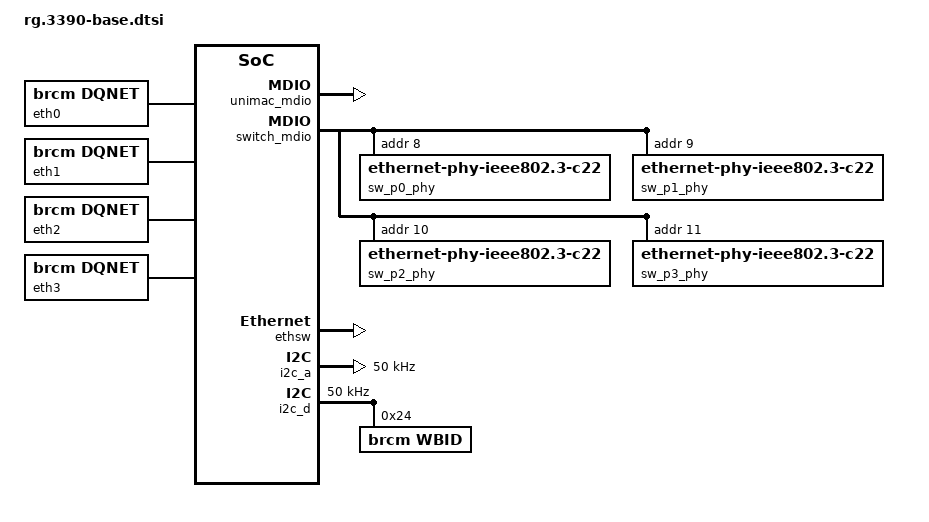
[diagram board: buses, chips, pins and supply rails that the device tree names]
/ {
	//Boot Assist
	bassist: ba {
		compatible = "brcm,brcm-ba";
		version = < 0x00020002 >;
		interrupts = <0 23 0x4 0 24 0x4>;
		reg = <0x0 0x04000000 0x0 0x05500000>, //Memory Region
		      <0x0 0xd3800000 0x0 0x80>, //CPU_COMM_REGS_CPUC
		      <0x0 0xd3881000 0x0 0x50>, //RG_TOP_CTRL
		      <0x0 0xd3880000 0x0 0x374>, //CM_TOP_CTRL
		      <0x0 0xf0410000 0x0 0x600>, //AON_CTRL
		      <0x0 0xf1500000 0x0 0x3fff>, //MEMC_0
		      <0x0 0xf1580000 0x0 0x3fff>, //MEMC_1
		      <0x0 0xd3890158 0x0 0x8>, //JTAG_OTP_UB
		      <0x0 0xd2100000 0x0 0x300>, //LEAP_CTRL: Control registers
		      <0x0 0xd3c009c0 0x0 0x8>; //LED: Control registers
		reg-names = "mem", "cpuc", "rgtop", "cmtop", "aon", "mc0", "mc1", "otp", "leap", "leds";
		allow-user-map;
		stb = < 0xFFFFFFFF 0 2 50 10 >; //start, size, # cpu, priority, latency
		rg = < 0xFFFFFFFF 0 2 50 10 >; //start, size, # cpu, priority, latency
		tp1 = < 0x08000000 0x01400000 >; //start, size
		cm_xfer = < 0x09410000 0x20000 0x2 >; //start, size, count
		leap = < 0x07F00000 0x100000>; //start, size
		arm_boot_rom = <0x09430000 0x00010000>; //start, size
		cm_atw = < 0x0 0x04000000 0x4000000 0x0 0x4807FFFC 0x0 0x0 0x0 >; //index, start, size, destination, client0-3
		cm_dsp_atw = < 0x1 0x08000000 0x00400000 0x07c00000 0x4804FFFC 0x0 0x0 0x0 >; //index, start, size, destination, client0-3
		cm_boot_atw = < 0x2 0x09400000 0x10000 0x1fc00000 0x40000 0x0 0x0 0x0 >; //index, start, size, destination, client0-3
		leds = < 0xd3c009c0 0x8>; //start, size
		//arc=<memc, index, ubus, exclusive, start, end, r_clients[8], w_clients[8]>
		rg-batt-mode = "off";
	};

	mbox: mbox {
		compatible = "brcm,brcm-mbox";
		reg = <0x0 0xd3800080 0x0 0x80>,  //MBOX_CPUC
		      <0x0 0xd3800000 0x0 0x80>;  //CPU_COMM_REGS_CPUC
		interrupts = <0 129 0x4>;
		read = < 0x0000011F >; /* 0,1,2,3,4,8 */
		write = < 0x000003E4 >; /* 2, 5, 6, 7, 8, 9 */
	};

	fpm: fpm@0xd3a00000 {
		compatible = "brcm,fpm";
		reg = <0x0 0x0ac00000 0x0 0x01000000>,	/* Free Pool 0	*/
		      <0x0 0xd3a00000 0x0 0x30133>,	/* Registers	*/
		      <0x0 0x0cc00000 0x0 0x01000000>;	/* Free Pool 1	*/
		interrupts = <0 127 0>;
		init;
		pool-alloc-weight	= <1 1>;
		pool-free-weight	= <1 1>;
		track-tokens = <1>;
		track-on-err = <0>;
		/*
		 * System-wide all FPM's used for network packets need to have space reserved
		 * at the head and possibly tail of the buffer. The head and tail padding is only
		 * required for network buffers. FPM buffers used for other purposes do not
		 * require any padding. DOCSIS necessitates a small head padding while systems
		 * with WiFi not only require a large head padding but also need tail padding.
		 * The values specified in the "head-pad" and "tail-pad" parameters below are
		 * available to other Linux drivers via an FPM driver API and to the rest of the
		 * system (i.e. DOCSIS HW, network accelerators, etc) via an FPM scratch register.
		 *
		 * DOCSIS-only Head Padding =		Reason
		 * 32					Runner <--> DFAP header
		 *
		 * DOCSIS + WiFi Head Padding =		Reason
		 * 240					BRCM WiFi driver's head padding requirement
		 *
		 * DOCSIS + WiFi Tail Padding =		Reason
		 *   4					struct skb_shared_info alignment
		 * + 40					sizeof(struct skb_shared_info) - sizeof(skb_frag_t array)
		 * + 4					struct sk_buff alignment
		 * + 200			      	sizeof(struct sk_buff)
		 * + 8					sizeof(WLER_CNTXT)	"wl_erouter context"
		 *
		 * Below we default to a DOCSIS-only head and tail pad and we let the WiFI include
		 * file override these to larger values for the DOCSIS + WiFi platforms.
		 *
		 * The head and tail padding is also closely coupled with the FPM buffer chunk size
		 * (256 or 512 bytes). 256 byte chunks can be used on DOCSIS-only systems because they
		 * only require a small head padding which can be accomodated with a minimum-size 256 byte
		 * buffer. This allows the FPM and Runner pools to be minimized (32MB per pool).
		 * WiFi systems, however, require head and tail padding large enough that a 256 byte
		 * buffer is insufficient for even the smallest packet so a 512 byte chunk size is used
		 * which also ensures that FPM buffers of sufficient size to hold the largest possible
		 * packets can be allocated. This larger chunk size also uses twice as much memory for
		 * the FPM and Runner pools (64MB per pool).
		 *
		 * Because the memory required for the FPM and Runner pools varies with the chunk size
		 * any changes to the chunk size necessitates changes to the pool addresses and sizes
		 * specified in the FPM and Runner "reg" properties as well as the "reserved-memory" node.
		 */
		chunk-size = <256>;
		net-buf-head-pad = <16>;
		net-buf-tail-pad = <0>;

		lwm-watchdog-timeout = <300000>;	/* 5 minutes */
	};

	dqm: dqm@d3800000 {
		compatible = "brcm,dqm";
		reg = <0x0 0xd3800000 0x0 0xa580>;
		interrupts = <0 129 0>;

		dev-name = "cpucomm";

		l1-irq-mask-offset	= <0x0058>;
		l1-irq-status-offset	= <0x005c>;
		l1-irq-dqm-mask		= <0x00400000 0x00200000 0x00100000>;
		token-offset		= <0x1400>;

		cfg-offset		= <0x1c00 0x1c00 0x1c00>;
		lwm-irq-mask-offset	= <0x1cb4 0x1d44 0x1ddc>;
		lwm-irq-status-offset	= <0x1ca0 0x1d30 0x1dc8>;
		ne-irq-mask-offset	= <0x1c60 0x1cd8 0x1d6c>;
		ne-irq-status-offset	= <0x1c18 0x1cc4 0x1d58>;
		ne-status-offset	= <0x1c20 0x1cc8 0x1d5c>;
		hwm-irq-mask-offset	= <0x1c8c 0x1d20 0x1db4>;
		hwm-irq-status-offset	= <0x1c78 0x1d0c 0x1da0>;
		tmr-irq-mask-offset	= <0x1c4c 0x1cfc 0x1d90>;
		tmr-irq-status-offset	= <0x1c38 0x1ce8 0x1d7c>;
		fpm-alloc-offset	= <0x1df4 0x1df4 0x1df4>;

		q-ctl-base-offset	= <0x8000 0x8400 0x8800>;
		q-tmr-base-offset	= <0x2000 0x2100 0x2200>;
		q-data-base-offset	= <0x9000 0x9400 0x9800>;
		q-status-base-offset	= <0x7400 0x7480 0x7500>;
		q-mib-base-offset	= <0xa000 0xa200 0xa400>;
		q-count			= <96>;
		cfg-qsm			= <1>;
		qsm-size		= <0x2fc0>;	/* Bx and beyond top 256 bytes reserved for random seed created by bootrom */
		#qsm-alloc-str-cells	= <8>;
		/* Following Queues are reserved but not used */
		/* 36 : STB DS Forward (STB-->Runner)         */
		/* 37 : STB US Forward (STB-->Runner)         */
		/* 38 : STB DS Egress  (STB-->Runner)         */
		/* 39 : STB US Egress  (STB-->Runner)         */
		/* 44 : Viper DS Forward (DFAP-->Runner)      */
		/* 45 : Viper US Forward (DFAP-->Runner)      */
		/* 46 : Viper DS Egress  (DFAP-->Runner)      */
		/* Q #, # words/element, # elements (depth), offload(1)/non-offload(0), LWM, HWM, timeout(ns), Name */
		qsm-allocation-str	= "2",   "4",  "8",     "1", "2",    "1",    "0",    "RPC RG-->CM",
					  "3",   "4",  "8",     "1", "2",    "1",    "0",    "RPC RG<--CM",
					  "6",   "4",  "8",     "1", "2",    "1",    "0",    "RPC STB-->CM",
					  "7",   "4",  "8",     "1", "2",    "1",    "0",    "RPC STB<--CM",
					  "8",   "4",  "8",     "1", "2",    "1",    "0",    "RPC DECT-->CM",
					  "9",   "4",  "8",     "1", "2",    "1",    "0",    "RPC DECT<--CM",
					  "14",  "2",  "16",    "1", "4",    "1",    "0",    "Private Network RG-->CM",
					  "15",  "2",  "64",    "1", "4",    "1",    "0",    "Private Network RG<--CM",
					  "20",  "4",  "8",     "1", "2",    "1",    "0",    "RPC SVM-->CM",
					  "21",  "4",  "8",     "1", "2",    "1",    "0",    "RPC SVM<--CM",
					  "32",  "4",  "64",    "1", "16",   "1",    "0",    "RG DS Forward (RG-->Runner)",
					  "34",  "4",  "64",    "1", "16",   "1",    "0",    "RG DS Egress (RG-->Runner)",
					  "35",  "4",  "64",    "1", "16",   "1",    "0",    "RG US Egress (RG-->Runner)",
					  "47",  "2",  "4000",  "1", "512",  "1",    "0",    "SKB Prealloc (RG-->Runner)",
					  "48",  "4",  "4000",  "1", "64",   "64",   "1000", "RG Exception LAN (Runner-->RG)",
					  "49",  "4",  "256",   "1", "64",   "1",    "0",    "RG Exception Ctl (Runner-->RG)",
					  "50",  "4",  "4000",  "1", "64",   "64",   "1000", "RG Exception WAN (Runner-->RG)",
					  "51",  "4",  "4000",  "1", "64",   "64",   "1000", "RG Expected 0    (Runner-->RG)",
					  "52",  "4",  "4000",  "1", "64",   "64",   "1000", "RG Expected 1    (Runner-->RG)",
					  "53",  "4",  "4000",  "1", "64",   "64",   "1000", "RG Expected 2    (Runner-->RG)",
					  "54",  "4",  "4000",  "1", "64",   "64",   "1000", "RG Expected 3    (Runner-->RG)",
					  "55",  "1",  "4000",  "1", "16",   "1000", "0",    "SKB Recycle (Runner-->RG)";
	};

	pwr: power {
		boot-state = "ac";
	};

	rpcrgcm: rpcrgcm {
		compatible = "brcm,itc-rpc";
		dev-name = "rg-cm";
		dqm = "cpucomm";
		tx-q = <2>;
		rx-q = <3>;
	};

	rpcsvmcm: rpcsvmcm {
		compatible = "brcm,itc-rpc";
		dev-name = "svm-cm";
		dqm = "cpucomm";
		tx-q = <20>;
		rx-q = <21>;
	};

	qchan0: q-channel0 {
		dev-name = "fap-exception";

		#tx-q-cells = <4>;
		/*	DQM device,  	Q#,	Priority	US/DS					*/
		tx-q =	"cpucomm",	"35",	"0",		"upstream",	/* RG upstream egress	*/
			"cpucomm",	"34",	"0",		"downstream";	/* RG downstream egress	*/
		#rx-q-cells = <4>;
		/*	DQM device,	Q#,	Priority						*/
		rx-q =	"cpucomm",	"49",	"0",		"control",    	/* Runner-->RG 0	*/
			"cpucomm",	"51",	"1",		"expected",   	/* Runner-->RG 1	*/
			"cpucomm",	"48",	"2",		"upstream",    	/* Runner-->RG 2	*/
			"cpucomm",	"50",	"3",		"downstream";	/* Runner-->RG 3	*/

		type = "fap-exception";
		q-msg-fmt = "runner-fpm";
	};

	qchan1: q-channel1 {
		dev-name = "cm-private";

		#tx-q-cells = <3>;
		/*	DQM device,	Q#,	Priority	US/DS   			*/
		tx-q =	"cpucomm",	"14",	"0";				/* RG-->CM	*/
		#rx-q-cells = <3>;
		/*	DQM device,	Q#,	Priority					*/
		rx-q =	"cpucomm",	"15",	"0";				/* CM-->RG	*/

		type = "point-to-point";
		q-msg-fmt = "gfap-fpm";
	};

	rfapskb: rfapskb {
		compatible = "brcm,dqskb";
		dev-name = "dqskb-rfap";
		dqm = "cpucomm";
		tx-q = <47>;
		rx-q = <55>;
	};

	mdqmrx0: mdqmrx0 {
		compatible = "brcm,mdqm";
		dev-name = "mdqmrx0";
		dqm = "cpucomm";
		q-type = "rx";
		q-num = <56 57>;
	};

	mdqmrx1: mdqmrx1 {
		compatible = "brcm,mdqm";
		dev-name = "mdqmrx1";
		dqm = "cpucomm";
		q-type = "rx";
		q-num = <58 59>;
	};

	mdqmrx2: mdqmrx2 {
		compatible = "brcm,mdqm";
		dev-name = "mdqmrx2";
		dqm = "cpucomm";
		q-type = "rx";
		q-num = <60 61>;
	};

	mdqmtx: mdqmtx {
		compatible = "brcm,mdqm";
		dev-name = "mdqmtx";
		dqm = "cpucomm";
		q-type = "tx";
		q-num = <33>;
	};

	priv0: priv0 { /* RG <--> CM private */
		compatible = "brcm,dqnet";
		channel = <&qchan1>;
		dev-name = "priv0";
		demux = "none";
		link-type = "rpc";
		rpc-channel = <&rpcrgcm>;
	};

	eth0: ethernet0 {
		compatible = "brcm,dqnet";
		channel = <&qchan0>;
		dev-name = "eth0";
		if-id = <2>;		/* rdpa_if_lan0 */
		if-sub-id = <0>;	/* if-sub-id must match the first column in phy-port node */
		demux = "subid";
		link-type = "switch";
		connection-type = "internal";
		brcm-tag;
	};

	eth1: ethernet1 {
		compatible = "brcm,dqnet";
		channel = <&qchan0>;
		dev-name = "eth1";
		if-id = <3>;		/* rdpa_if_lan1 */
		if-sub-id = <1>;	/* if-sub-id must match the first column in phy-port node */
		demux = "subid";
		link-type = "switch";
		connection-type = "internal";
		brcm-tag;
	};

	eth2: ethernet2 {
		compatible = "brcm,dqnet";
		channel = <&qchan0>;
		dev-name = "eth2";
		if-id = <4>;		/* rdpa_if_lan2 */
		if-sub-id = <2>;	/* if-sub-id must match the first column in phy-port node */
		demux = "subid";
		link-type = "switch";
		connection-type = "internal";
		brcm-tag;
	};

	eth3: ethernet3 {
		compatible = "brcm,dqnet";
		channel = <&qchan0>;
		dev-name = "eth3";
		if-id = <5>;		/* rdpa_if_lan3 */
		if-sub-id = <3>;	/* if-sub-id must match the first column in phy-port node */
		demux = "subid";
		link-type = "switch";
		connection-type = "internal";
		brcm-tag;
	};

	cm0: cm0 {
		compatible = "brcm,dqnet";
		channel = <&qchan0>;
		dev-name = "cm0";
		if-id = <0>;		/* rdpa_if_wan0 */
		demux = "subid";
		link-type = "rpc";
		rpc-channel = <&rpcrgcm>;
	};

	miimdiomux: miimdiomux@d3c026a0 {
		compatible = "brcm,miimdiomux3390";
		reg = <0 0xd3c026a0 0 0x4>;
		rgmii0-tx-select = "unimac";
		rgmii1-tx-select = "zero";
		p7-rx-select = "runner";
		p4-rx-select = "moca";
		unimac-rx-select = "rgmii0";
		unimac-mdio-select = "mdio0";
		switch-mdio-select = "mdio1";
	};

	unimac_mdio: mdio@d040062c {
		compatible = "brcm,unimac-mdio";
		dev-name = "UniMAC MII bus";
		reg = <0 0xd040062c 0 0x8>;
		reg-names = "unimac_mdio";
		#size-cells = <1>;
		#address-cells = <0>;
	};

	switch_mdio: mdio@d4e403c0 {
		compatible = "brcm,unimac-mdio";
		dev-name = "Switch MDIO bus";
		reg = <0 0xd4e403c0 0 0x8>;
		reg-names = "switch_mdio";
		#size-cells = <1>;
		#address-cells = <0>;
		sw_p0_phy: phy@8 {
			compatible = "ethernet-phy-ieee802.3-c22";
			reg = <8>;
			phy-mode = "rgmii";
		};
		sw_p1_phy: phy@9 {
			compatible = "ethernet-phy-ieee802.3-c22";
			reg = <9>;
			phy-mode = "rgmii";
		};
		sw_p2_phy: phy@10 {
			compatible = "ethernet-phy-ieee802.3-c22";
			reg = <10>;
			phy-mode = "rgmii";
		};
		sw_p3_phy: phy@11 {
			compatible = "ethernet-phy-ieee802.3-c22";
			reg = <11>;
			phy-mode = "rgmii";
		};
	};

	ethsw: ethsw@d4e00000 {
		compatible = "brcm,ethsw";
		reg = <0x0 0xd4e00000 0x0 0x42000>,
		      <0x0 0xd3c009c0 0x0 0x2c>;
		interrupts = <0 113 0>,
			     <0 114 0>;
		dev-name = "ethsw";
		imp-port = <5 2000>,
			   <7 2000>,
			   <8 2000>;
		eee-support = <1>;
		high-speed-imp = <1>;
		phy-handles = <&sw_p0_phy>,
			      <&sw_p1_phy>,
			      <&sw_p2_phy>,
			      <&sw_p3_phy>;
		subid-port-offset = <0>;
		#size-cells = <1>;
		#address-cells = <0>;
	};

	runner: runner@0xd5000000 {
		compatible = "brcm,rdpa_cm";
		reg = <0x0 0xd5000000 0x0 0x000fc460>,	/* Registers			*/
		      <0x0 0x09c00000 0x0 0x01000000>,	/* Runner Extra Memory 0	*/
		      <0x0 0x0bc00000 0x0 0x01000000>,	/* Runner Extra Memory 1	*/
		      <0x0 0x09500000 0x0 0x00700000>;	/* Runner NAT Cache		*/
		freq = <800>;				/* MHz				*/
		lag-ports = < 0 1 2 >;
	};

	aon_pin_ctrl: pinmux@f0410700 {
		compatible = "pinctrl-single";
		reg = <0 0xf0410700 0 0xc>;
		#address-cells = <1>;
		#size-cells = <0>;
		pinctrl-single,bit-per-mux;
		pinctrl-single,register-width = <32>;
		pinctrl-single,function-mask = <0x1>;
		pinctrl-names = "default";
	};

	suntop_pmx: pinmux@f0404100 {
		compatible = "pinctrl-single";
		reg = <0 0xf04040a4 0 0xc4>;
		#address-cells = <1>;
		#size-cells = <0>;
		pinctrl-single,bit-per-mux;
		pinctrl-single,register-width = <32>;
		pinctrl-single,function-mask = <0x1>;
		pinctrl-names = "default";
	};

	pmb0: pmb@0xd3c03100 {
		compatible = "brcm,pmb";
		reg = <0 0xd3c03100 0 0x50000>;
		#address-cells = <0>;
		#size-cells = <1>;
		direct-access;

		bpcm@0x7 {
			compatible = "brcm,bpcm";
			reg = <0x7>;
			dev-name = "bpcm-fpm";
			zones = <1>;
			zone-init-pwr = <0x1>;
			dyn-clk-scale-div = <0x1 0x4>;
		};

		bpcm@0x8 {
			compatible = "brcm,bpcm";
			reg = <0x8>;
			dev-name = "bpcm-cpuc";
			zones = <1>;
			zone-init-pwr = <0x1>;
		};

		unimac_pwr: bpcm@0xb {
			compatible = "brcm,bpcm";
			reg = <0xb>;
			dev-name = "bpcm-unimac";
			zones = <1>;
			zone-init-pwr = <0x0>;
			dyn-clk-scale-div = <0x1 0x4>;
		};
	};

	pmb1: pmb@0xf10b0f00 {
		compatible = "brcm,pmb";
		reg = <0 0xf10b0f00 0 0x10>;
		#address-cells = <0>;
		#size-cells = <1>;
		version = <2>;

		bpcm@0x0 {
			compatible = "brcm,bpcm";
			reg = <0x0>;
			dev-name = "bpcm-rdp";
			zones = <2>;
			zone-init-pwr = <0x3>;
		};
	};

	i2c_a: i2c@f040a300  {
		clock-frequency = <50000>;
		compatible = "brcm,brcmper-i2c";
		reg = < 0x0 0xf040a300 0x0 0x58>;
		#address-cells = <1>;
		#size-cells = <0>;
	};

	i2c_d: i2c@f040a400 {
		clock-frequency = <50000>;
		compatible = "brcm,brcmper-i2c";
		reg = <0x0 0xf040a400 0x0 0x58>;
		#address-cells = <1>;
		#size-cells = <0>;

		wbid: wbid@0 {
			compatible = "brcm,wbid";
			reg = <0x24>;
		};
	};

	ubus-capture {
		compatible = "brcm,ubus-capture";
		reg =	< 0x0 0xd3e00000 0x0 0x1000 >,
			< 0x0 0xd7e00000 0x0 0x1000 >;
		segments = < 6 2 >;
		/*
		 * There is no reliably timely way to shut off the capture engines.
		 * They will shut off eventually after you turn them off, but it
		 * takes a while (1 sec?).
		 * So we have to filter out our ubus access cycles if we want to
		 * capture and display bus errors.
		 */
		// exlude ubus3 engine complex at 0xd3e00000
		address-range = < 0xd3e00000 0xd3e00fff >;
		address-exclude = <1>;
		// exlude ubus3 engine complex at 0xd7e00000
		pid-range = < 95 96 >;
		pid-exclude = <1>;
		enabled-at-boot = "no";
	};
};
